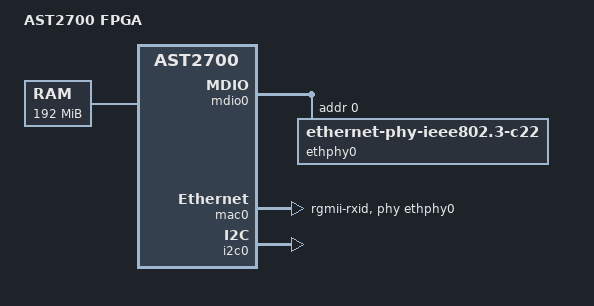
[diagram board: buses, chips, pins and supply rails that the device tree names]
// SPDX-License-Identifier: GPL-2.0-or-later

/dts-v1/;

#include "aspeed-g7.dtsi"
#include <dt-bindings/gpio/aspeed-gpio.h>

/ {
	model = "AST2700 FPGA";
	compatible = "aspeed,ast2700-fpga", "aspeed,ast2700";

	chosen {
		bootargs = "console=ttyS12,115200n8";
		stdout-path = &uart12;
	};

	firmware {
		optee: optee {
			compatible = "linaro,optee-tz";
			method = "smc";
		};
	};

	memory@400000000 {
		device_type = "memory";
		reg = <0x4 0x00000000 0x0 0x0c000000>;
	};

	reserved-memory {
		#address-cells = <2>;
		#size-cells = <2>;
		ranges;

		bmc_dev_memory: bmc_dev_memory {
			size = <0x00100000>;
			alignment = <0x00100000>;
			compatible = "shared-dma-pool";
			no-map;
		};

	};
};

&mdio0 {
	status = "okay";
	#address-cells = <1>;
	#size-cells = <0>;

	ethphy0: ethernet-phy@0 {
		compatible = "ethernet-phy-ieee802.3-c22";
		reg = <0>;
	};
};

&mac0 {
	status = "okay";

	phy-mode = "rgmii-rxid";
	phy-handle = <&ethphy0>;
};

&i2c0 {
	status = "okay";
};

#if 0
&bmc_dev0 {
	status = "okay";
	memory-region = <&bmc_dev_memory>;
};

&pcie0_vuart0 {
	port = <0x3f8>;
	sirq = <4>;
	sirq-polarity = <0>;

	status = "okay";
};

&pcie0_vuart1 {
	port = <0x2f8>;
	sirq = <3>;
	sirq-polarity = <0>;

	status = "okay";
};
#endif
